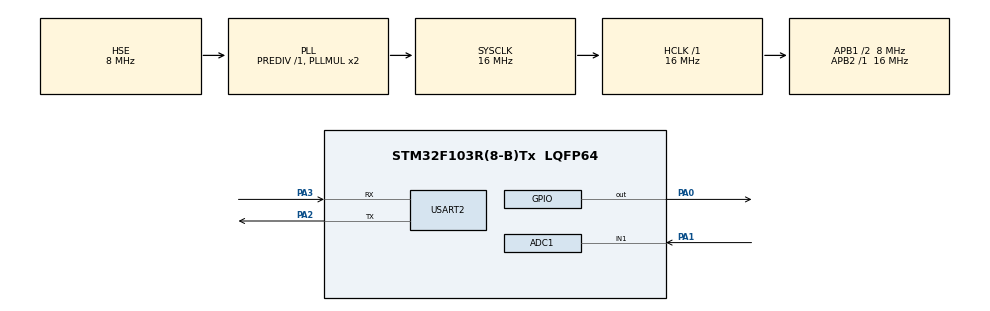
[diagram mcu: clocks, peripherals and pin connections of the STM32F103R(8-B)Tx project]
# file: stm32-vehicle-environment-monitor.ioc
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ADC1.Channel-0\#ChannelRegularConversion=ADC_CHANNEL_1
ADC1.NbrOfConversionFlag=1
ADC1.Rank-0\#ChannelRegularConversion=1
ADC1.SamplingTime-0\#ChannelRegularConversion=ADC_SAMPLETIME_1CYCLE_5
ADC1.master=1
Mcu.Family=STM32F1
Mcu.Name=STM32F103R(8-B)Tx
Mcu.Package=LQFP64
NVIC.PriorityGroup=NVIC_PRIORITYGROUP_4
NVIC.USART2_IRQn=true\:0\:0\:false\:false\:true\:true\:true\:true
PA0-WKUP.Signal=GPIO_Output
PA1.Signal=ADCx_IN1
PA13.Mode=Serial_Wire
PA13.Signal=SYS_JTMS-SWDIO
PA14.Mode=Serial_Wire
PA14.Signal=SYS_JTCK-SWCLK
PA2.Mode=Asynchronous
PA2.Signal=USART2_TX
PA3.Mode=Asynchronous
PA3.Signal=USART2_RX
PD0-OSC_IN.Mode=HSE-External-Oscillator
PD0-OSC_IN.Signal=RCC_OSC_IN
PD1-OSC_OUT.Mode=HSE-External-Oscillator
PD1-OSC_OUT.Signal=RCC_OSC_OUT
ProjectManager.HeapSize=0x200
ProjectManager.StackSize=0x400
ProjectManager.TargetToolchain=STM32CubeIDE
RCC.AHBFreq_Value=16000000
RCC.APB1CLKDivider=RCC_HCLK_DIV2
RCC.APB1Freq_Value=8000000
RCC.APB1TimFreq_Value=16000000
RCC.APB2Freq_Value=16000000
RCC.APB2TimFreq_Value=16000000
RCC.HCLKFreq_Value=16000000
RCC.PLLSourceVirtual=RCC_PLLSOURCE_HSE
RCC.SYSCLKFreq_VALUE=16000000
RCC.SYSCLKSource=RCC_SYSCLKSOURCE_PLLCLK
RCC.USBFreq_Value=16000000
SH.ADCx_IN1.0=ADC1_IN1,IN1
USART2.VirtualMode=VM_ASYNC
board=custom

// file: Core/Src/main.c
/* USER CODE BEGIN Header */
/**
  ******************************************************************************
  * @file    main.c
  * @brief   Vehicle Environment Monitoring System using STM32
  *
  * @details
  * This application implements an environmental monitoring prototype using
  * an STM32F103RB microcontroller. The system reads environmental data from:
  *
  *  - DHT11 sensor for temperature and humidity measurement
  *  - MQ-series gas sensor for gas concentration detection
  *
  * The STM32 periodically acquires sensor data and transmits formatted
  * monitoring information through UART for real-time observation on a
  * serial terminal.
  *
  * System workflow:
  *  1. Read temperature and humidity from DHT11
  *  2. Read gas concentration via ADC from MQ sensor
  *  3. Format sensor data
  *  4. Transmit monitoring data via UART
  *
  * @author  Hang
  * @date    2026
  ******************************************************************************
  */
/* USER CODE END Header */

#include "main.h"

/* USER CODE BEGIN Includes */
#include "stdio.h"
#include "stdint.h"
#include <string.h>

#include "DHT.h"
#include "MQ.h"
/* USER CODE END Includes */

/**
 * @brief ADC handle for MQ gas sensor reading
 */
ADC_HandleTypeDef hadc1;

/**
 * @brief UART handle used for serial communication
 */
UART_HandleTypeDef huart2;

/* USER CODE BEGIN PV */

/**
 * @brief Structure storing DHT11 sensor data
 */
DHT_DataTypedef DHT11_Data;

/**
 * @brief Temperature value read from DHT11 (°C)
 */
float Temperature;

/**
 * @brief Humidity value read from DHT11 (%)
 */
float Humidity;

/**
 * @brief Gas sensor ADC value
 */
uint32_t GasValue;

/**
 * @brief Sample counter used for UART monitoring output
 */
int i = 0;

/* USER CODE END PV */

void SystemClock_Config(void);
static void MX_GPIO_Init(void);
static void MX_USART2_UART_Init(void);
static void MX_ADC1_Init(void);

/* USER CODE BEGIN 0 */

/**
 * @brief Redirect printf output to UART
 *
 * @param ch Character to transmit
 * @return int Transmitted character
 *
 * @note Allows usage of printf() for serial debugging
 */
#ifdef __GNUC__
#define PUTCHAR_PROTOTYPE int __io_putchar(int ch)
#else
#define PUTCHAR_PROTOTYPE int fputc(int ch, FILE *f)
#endif

PUTCHAR_PROTOTYPE
{
    HAL_UART_Transmit(&huart2,(uint8_t *)&ch,1,0xFFFF);
    return ch;
}

/* USER CODE END 0 */

/**
  * @brief  Main program entry point
  *
  * @details
  * Initializes system peripherals and continuously performs:
  *
  *  - Reading temperature and humidity from DHT11 sensor
  *  - Reading gas concentration from MQ sensor via ADC
  *  - Sending formatted monitoring data through UART
  *
  * Sensor data is updated every 2 seconds.
  *
  * @retval int (never returns)
  */
int main(void)
{

  /* MCU Configuration --------------------------------------------------------*/

  /* Initialize HAL Library */
  HAL_Init();

  /* Configure system clock */
  SystemClock_Config();

  /* Initialize peripherals */
  MX_GPIO_Init();
  MX_USART2_UART_Init();
  MX_ADC1_Init();

  /* Infinite loop */
  while (1)
  {

    /* Read environmental data from DHT11 sensor */
    DHT_GetData(&DHT11_Data);

    Temperature = DHT11_Data.Temperature;
    Humidity    = DHT11_Data.Humidity;

    /* Read gas sensor value using ADC */
    GasValue = MQ_Read();

    /* Transmit formatted monitoring data via UART */
    printf("%d.Temp: %.1fC - Hum: %.1f%% - Gas:%lu\r\n",
           i++,
           Temperature,
           Humidity,
           GasValue);

    /* Sampling interval */
    HAL_Delay(2000);
  }
}

/**
  * @brief Configure system clock
  *
  * @details
  * Initializes HSE oscillator and configures PLL to generate
  * the system clock used by the STM32F103 microcontroller.
  */
void SystemClock_Config(void)
{
  RCC_OscInitTypeDef RCC_OscInitStruct = {0};
  RCC_ClkInitTypeDef RCC_ClkInitStruct = {0};
  RCC_PeriphCLKInitTypeDef PeriphClkInit = {0};

  /** Initializes the RCC Oscillators according to the specified parameters
  * in the RCC_OscInitTypeDef structure.
  */
  RCC_OscInitStruct.OscillatorType = RCC_OSCILLATORTYPE_HSE;
  RCC_OscInitStruct.HSEState = RCC_HSE_ON;
  RCC_OscInitStruct.HSEPredivValue = RCC_HSE_PREDIV_DIV1;
  RCC_OscInitStruct.HSIState = RCC_HSI_ON;
  RCC_OscInitStruct.PLL.PLLState = RCC_PLL_ON;
  RCC_OscInitStruct.PLL.PLLSource = RCC_PLLSOURCE_HSE;
  RCC_OscInitStruct.PLL.PLLMUL = RCC_PLL_MUL2;
  if (HAL_RCC_OscConfig(&RCC_OscInitStruct) != HAL_OK)
  {
    Error_Handler();
  }

  /** Initializes the CPU, AHB and APB buses clocks
  */
  RCC_ClkInitStruct.ClockType = RCC_CLOCKTYPE_HCLK|RCC_CLOCKTYPE_SYSCLK
                              |RCC_CLOCKTYPE_PCLK1|RCC_CLOCKTYPE_PCLK2;
  RCC_ClkInitStruct.SYSCLKSource = RCC_SYSCLKSOURCE_PLLCLK;
  RCC_ClkInitStruct.AHBCLKDivider = RCC_SYSCLK_DIV1;
  RCC_ClkInitStruct.APB1CLKDivider = RCC_HCLK_DIV2;
  RCC_ClkInitStruct.APB2CLKDivider = RCC_HCLK_DIV1;

  if (HAL_RCC_ClockConfig(&RCC_ClkInitStruct, FLASH_LATENCY_0) != HAL_OK)
  {
    Error_Handler();
  }
  PeriphClkInit.PeriphClockSelection = RCC_PERIPHCLK_ADC;
  PeriphClkInit.AdcClockSelection = RCC_ADCPCLK2_DIV2;
  if (HAL_RCCEx_PeriphCLKConfig(&PeriphClkInit) != HAL_OK)
  {
    Error_Handler();
  }
}

static void MX_ADC1_Init(void)
{

  ADC_ChannelConfTypeDef sConfig = {0};

  /** Common config
  */
  hadc1.Instance = ADC1;
  hadc1.Init.ScanConvMode = ADC_SCAN_DISABLE;
  hadc1.Init.ContinuousConvMode = DISABLE;
  hadc1.Init.DiscontinuousConvMode = DISABLE;
  hadc1.Init.ExternalTrigConv = ADC_SOFTWARE_START;
  hadc1.Init.DataAlign = ADC_DATAALIGN_RIGHT;
  hadc1.Init.NbrOfConversion = 1;
  if (HAL_ADC_Init(&hadc1) != HAL_OK)
  {
    Error_Handler();
  }

  /** Configure Regular Channel
  */
  sConfig.Channel = ADC_CHANNEL_1;
  sConfig.Rank = ADC_REGULAR_RANK_1;
  sConfig.SamplingTime = ADC_SAMPLETIME_1CYCLE_5;
  if (HAL_ADC_ConfigChannel(&hadc1, &sConfig) != HAL_OK)
  {
    Error_Handler();
  }

}

static void MX_USART2_UART_Init(void)
{

  huart2.Instance = USART2;
  huart2.Init.BaudRate = 115200;
  huart2.Init.WordLength = UART_WORDLENGTH_8B;
  huart2.Init.StopBits = UART_STOPBITS_1;
  huart2.Init.Parity = UART_PARITY_NONE;
  huart2.Init.Mode = UART_MODE_TX_RX;
  huart2.Init.HwFlowCtl = UART_HWCONTROL_NONE;
  huart2.Init.OverSampling = UART_OVERSAMPLING_16;
  if (HAL_UART_Init(&huart2) != HAL_OK)
  {
    Error_Handler();
  }

}

static void MX_GPIO_Init(void)
{
  GPIO_InitTypeDef GPIO_InitStruct = {0};

  /* GPIO Ports Clock Enable */
  __HAL_RCC_GPIOC_CLK_ENABLE();
  __HAL_RCC_GPIOD_CLK_ENABLE();
  __HAL_RCC_GPIOA_CLK_ENABLE();
  __HAL_RCC_GPIOB_CLK_ENABLE();

  /*Configure GPIO pin Output Level */
  HAL_GPIO_WritePin(GPIOA, GPIO_PIN_0, GPIO_PIN_RESET);

  /*Configure GPIO pins : PC13 PC14 PC15 PC0
                           PC1 PC2 PC3 PC4
                           PC5 PC6 PC7 PC8
                           PC9 PC10 PC11 PC12 */
  GPIO_InitStruct.Pin = GPIO_PIN_13|GPIO_PIN_14|GPIO_PIN_15|GPIO_PIN_0
                          |GPIO_PIN_1|GPIO_PIN_2|GPIO_PIN_3|GPIO_PIN_4
                          |GPIO_PIN_5|GPIO_PIN_6|GPIO_PIN_7|GPIO_PIN_8
                          |GPIO_PIN_9|GPIO_PIN_10|GPIO_PIN_11|GPIO_PIN_12;
  GPIO_InitStruct.Mode = GPIO_MODE_ANALOG;
  HAL_GPIO_Init(GPIOC, &GPIO_InitStruct);

  /*Configure GPIO pin : PA0 */
  GPIO_InitStruct.Pin = GPIO_PIN_0;
  GPIO_InitStruct.Mode = GPIO_MODE_OUTPUT_PP;
  GPIO_InitStruct.Pull = GPIO_NOPULL;
  GPIO_InitStruct.Speed = GPIO_SPEED_FREQ_LOW;
  HAL_GPIO_Init(GPIOA, &GPIO_InitStruct);

  /*Configure GPIO pins : PA4 PA5 PA6 PA7
                           PA8 PA9 PA10 PA11
                           PA12 PA15 */
  GPIO_InitStruct.Pin = GPIO_PIN_4|GPIO_PIN_5|GPIO_PIN_6|GPIO_PIN_7
                          |GPIO_PIN_8|GPIO_PIN_9|GPIO_PIN_10|GPIO_PIN_11
                          |GPIO_PIN_12|GPIO_PIN_15;
  GPIO_InitStruct.Mode = GPIO_MODE_ANALOG;
  HAL_GPIO_Init(GPIOA, &GPIO_InitStruct);

  /*Configure GPIO pins : PB0 PB1 PB2 PB10
                           PB11 PB12 PB13 PB14
                           PB15 PB3 PB4 PB5
                           PB6 PB7 PB8 PB9 */
  GPIO_InitStruct.Pin = GPIO_PIN_0|GPIO_PIN_1|GPIO_PIN_2|GPIO_PIN_10
                          |GPIO_PIN_11|GPIO_PIN_12|GPIO_PIN_13|GPIO_PIN_14
                          |GPIO_PIN_15|GPIO_PIN_3|GPIO_PIN_4|GPIO_PIN_5
                          |GPIO_PIN_6|GPIO_PIN_7|GPIO_PIN_8|GPIO_PIN_9;
  GPIO_InitStruct.Mode = GPIO_MODE_ANALOG;
  HAL_GPIO_Init(GPIOB, &GPIO_InitStruct);

  /*Configure GPIO pin : PD2 */
  GPIO_InitStruct.Pin = GPIO_PIN_2;
  GPIO_InitStruct.Mode = GPIO_MODE_ANALOG;
  HAL_GPIO_Init(GPIOD, &GPIO_InitStruct);

}

void Error_Handler(void)
{
  __disable_irq();
  while (1)
  {
  }
}
